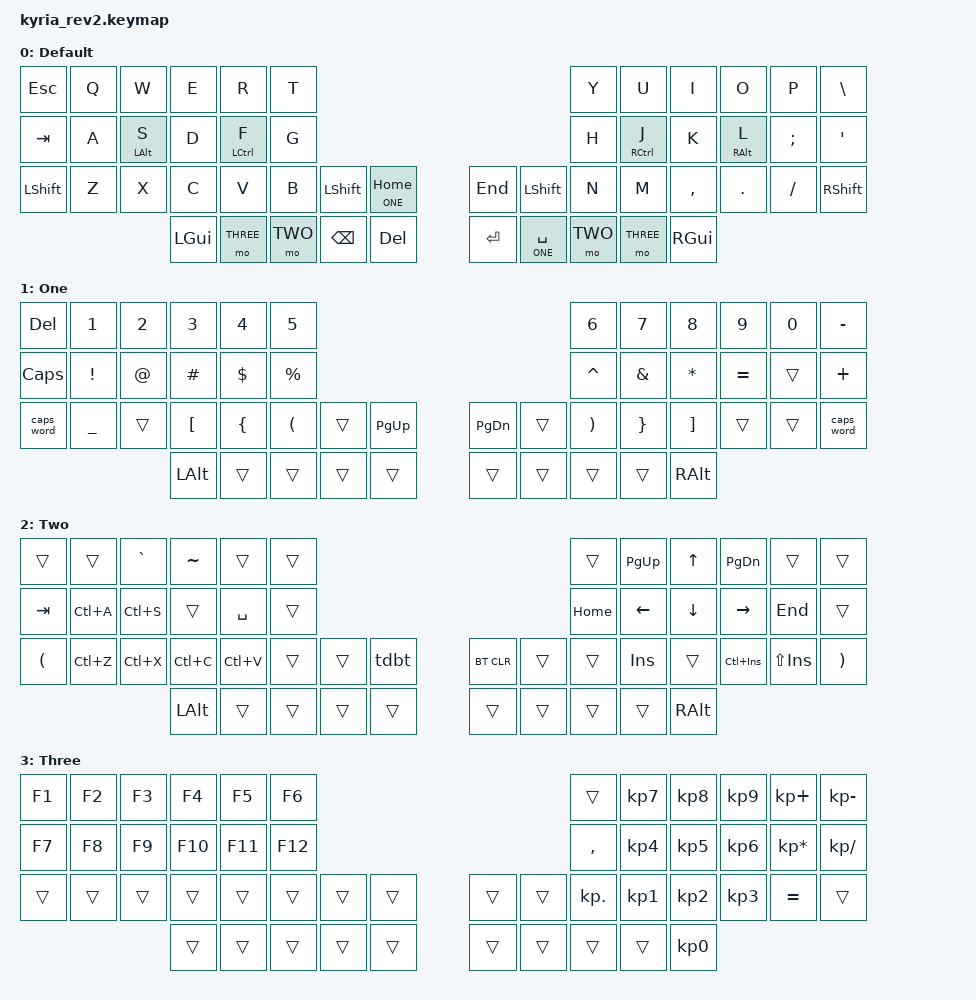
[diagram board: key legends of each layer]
/*
 * Copyright (c) 2020 The ZMK Contributors
 *
 * SPDX-License-Identifier: MIT
 */

#include <behaviors.dtsi>
#include <dt-bindings/zmk/keys.h>
#include <dt-bindings/zmk/bt.h>

#define BASE 0
#define ONE  1
#define TWO  2
#define THREE 3

&mt {
    retro-tap;
    flavor = "tap-preferred";
    tapping-term-ms = <200>;
	quick-tap-ms = <150>;
};
&lt {
    retro-tap;
    flavor = "tap-preferred";
    tapping-term-ms = <200>;
};

&caps_word {
    continue-list = <UNDERSCORE MINUS BACKSPACE DELETE>;
};

/ {
    behaviors {
        tdbt: tap_dance_0 {
            compatible = "zmk,behavior-tap-dance";
            label = "TAP_DANCE_0";
            #binding-cells = <0>;
            tapping-term-ms = <170>;
            bindings = <&bt BT_SEL 0>, <&bt BT_SEL 1>, <&bt BT_SEL 2>, <&bt BT_SEL 4>, <&bt BT_SEL 5>;
        };
		st: shift_tap {
			compatible = "zmk,behavior-hold-tap";
            label = "SFT_TAP";
            #binding-cells = <2>;
            tapping-term-ms = <100>;
            quick-tap-ms = <75>;
			retro-tap;
            flavor = "tap-preferred";
            bindings = <&kp>, <&kp>;
			global-quick-tap;
		};
	};


	keymap {
		compatible = "zmk,keymap";

		default_layer {
				label = "Default";
// ---------------------------------------------------------------------------------------------------------------------------------
// |  ESC  |  Q  |  W  |  E   |  R   |  T   |                                          |  Y   |  U    |  I    |  O   |   P   |   \  |
// |  TAB  |  A  |LA(S)|  D   | LC(F)|  G   |                                          |  H   |RC(J)  |  K    |RA(L) |   ;   |   '  |
// | SHIFT |  Z  |  X  |  C   |  V   |  B   |         |LT(HOME) |  |   END   |         |  N   |  M    |  ,    |  .   |   /   | SHIFT|
//                     | GUI  |  MO3 | MO2  |   BSPC  |   DEL   |  |   RET   |LT(SPACE)| MO2  | MO3   | GUI   |
			bindings = <
	&kp ESC   &kp Q &kp W &kp E &kp R &kp T                                        &kp Y &kp U  &kp I     &kp O   &kp P    &kp BSLH
	&kp TAB   &kp A &mt LALT S &kp D &mt LCTRL F &kp G                                &kp H &mt RCTRL J  &kp K  &mt RALT L &kp SEMI &kp SQT
	&kp LSHIFT &kp Z &kp X &kp C &kp V &kp B &kp LSHFT &lt ONE HOME        &kp END &kp LSHFT &kp N &kp M  &kp COMMA &kp DOT &kp FSLH &kp RSHIFT
	                 &kp LGUI &mo THREE &mo TWO &kp BSPC &kp DEL        &kp RET  &lt ONE SPACE  &mo TWO &mo THREE &kp RGUI
			>;
			
			
		};

		layer_1 {
				label = "One";
// ---------------------------------------------------------------------------------------------------------------------------------
// |  DEL  |  1  |  2  |  3   |  4   |  5   |                                          |  6   |  7    |  8    |  9   |   0   |   -   |
// |  CAPS |  !  |  @  |  #   |  $   |  %   |                                          |  ^   |  &    |  *    |  =   |       |   +   |
// |cap_wrd|  _  |     |  [   |  {   |  (   |         | PG UP   |  | PG DN   |         |  )   |  }    |  ]    |      |       |cap_wrd|
//                     | ALT  |  MO3 | MO2  |   BSPC  |   DEL   |  |   RET   |LT(SPACE)| MO2  | MO3   | ALT   |
			bindings = <
	&kp DEL   &kp N1 &kp N2 &kp N3 &kp N4 &kp N5                                   &kp N6 &kp N7  &kp N8  &kp N9   &kp N0 &kp MINUS
	&kp CAPS   &kp EXCL &kp AT &kp HASH &kp DLLR &kp PRCNT                   &kp CARET &kp AMPS  &kp STAR   &kp EQUAL   &trans &kp PLUS
	&caps_word &kp UNDER &trans &kp LBKT &kp LBRC &kp LPAR &trans &kp PG_UP &kp PG_DN &trans &kp RPAR &kp RBRC  &kp RBKT &trans &trans &caps_word
	                 &kp LALT &trans &trans &trans &trans          &trans  &trans  &trans &trans &kp RALT
			>;
			
			
		};

		layer_2 {
				label = "Two";
// ---------------------------------------------------------------------------------------------------------------------------------
// |       |     |  `  |   ~  |      |      |                                          |      |  PG UP|  UP   | PG DN|       |      |
// |  TAB  |LC(A)|LC(S)|      |SPACE |      |                                          | HOME | LEFT  |  DOWN |RIGHT |   END |      |
// |   (   |LC(Z)|LC(X)|LC(C) |LC(V) |      |         |BLUETOOTH|  |   BT CLR|         |      |  INS  |       |C(INS)|S(INS) |   )  |
//                     | ALT  |  MO3 | MO2  |         |   DEL   |  |   RET   |LT(SPACE)| MO2  | MO3   | ALT   |
			bindings = <
	&trans   &trans &kp GRAVE &kp TILDE &trans &trans                            &trans &kp PG_UP    &kp UP      &kp PG_DN   &trans    &trans
	&kp TAB &kp LC(A) &kp LC(S) &trans &kp SPACE &trans                               &kp HOME &kp LEFT  &kp DOWN    &kp RIGHT   &kp END &trans
	&kp LPAR &kp LC(Z) &kp LC(X) &kp LC(C) &kp LC(V) &trans &trans &tdbt        &bt BT_CLR &trans &trans &kp INS &trans &kp LC(INS) &kp LS(INS) &kp RPAR
	                 &kp LALT &trans &trans &trans &trans          &trans  &trans  &trans &trans &kp RALT
			>;
			
			
		};

		layer_3 {
				label = "Three";
// ---------------------------------------------------------------------------------------------------------------------------------
// |  F1   |  F2 |  F3 |  F4  |  F5  |  F6  |                                          |      |    7  |    8  |   9  |    +  |   -  |
// |  F7   |  F8 |  F9 |  F10 |  F11 |  F12 |                                          |  ,   |    4  |    5  |   6  |    *  |   /  |
// |       |     |     |      |      |      |         |         |  |         |         |  .   |    1  |    2  |   3  |    =  |      |
//                     | GUI  |  MO3 | MO2  |   BSPC  |   DEL   |  |   RET   |LT(SPACE)| MO2  | MO3   |    0  |
			bindings = <
	&kp F1   &kp F2 &kp F3 &kp F4 &kp F5 &kp F6                                    &trans        &kp KP_N7  &kp KP_N8   &kp KP_N9   &kp KP_PLUS &kp KP_MINUS
	&kp F7   &kp F8 &kp F9 &kp F10 &kp F11 &kp F12                                 &kp COMMA  &kp KP_N4  &kp KP_N5   &kp KP_N6   &kp KP_MULTIPLY &kp KP_DIVIDE
	&trans &trans &trans &trans &trans &trans &trans &trans          &trans &trans &kp KP_DOT    &kp KP_N1  &kp KP_N2   &kp KP_N3   &kp EQUAL &trans
	                 &trans &trans &trans &trans &trans                &trans  &trans  &trans &trans &kp KP_N0
			>;
			
			
		};

	};
};
